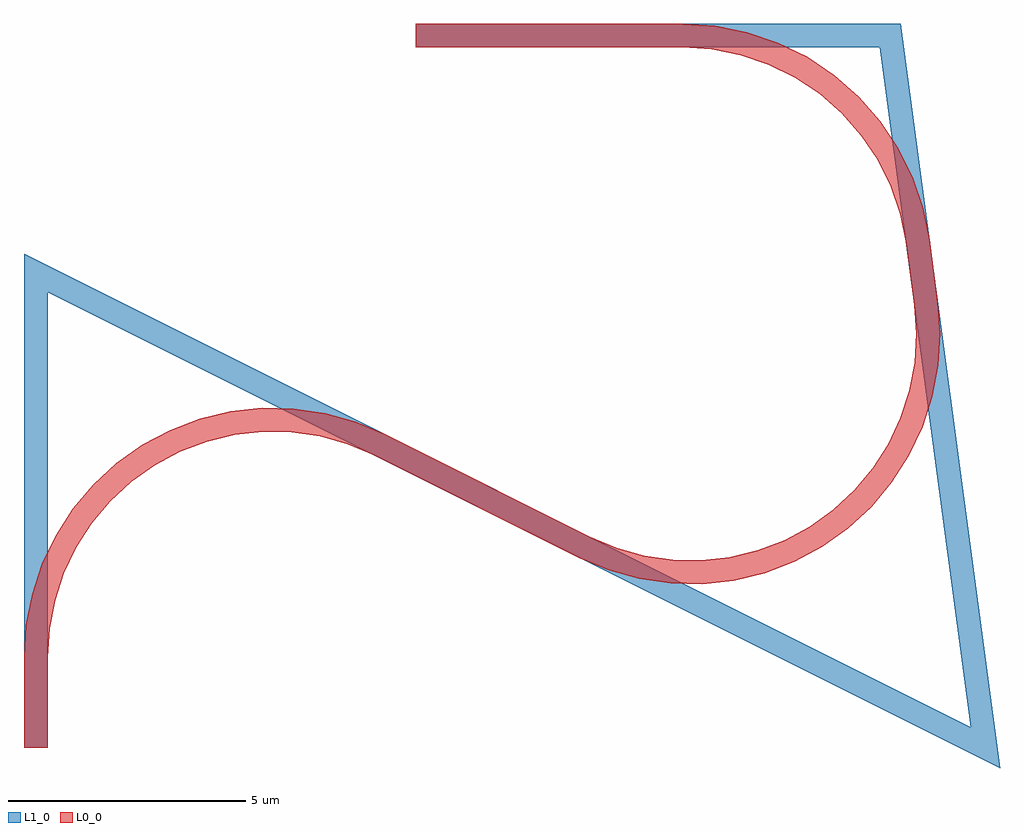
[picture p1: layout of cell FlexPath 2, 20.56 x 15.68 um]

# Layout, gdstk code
import gdstk
lib = gdstk.Library(unit=1e-6, precision=1e-09)
L0_0 = (0, 0)
L1_0 = (1, 0)

flexpath_2 = lib.new_cell('FlexPath 2')
flexpath_2.add(gdstk.FlexPath([(0,0),(0,1.91),(0.04,2.544),(0.161,3.168),(0.359,3.771),(0.633,4.345),(0.977,4.879),(1.386,5.365),(1.853,5.795),(2.371,6.163),(2.932,6.462),(3.526,6.688),(4.144,6.836),(4.775,6.905),(5.41,6.893),(6.039,6.801),(6.651,6.629),(7.236,6.382),(11.561,4.22),(12.147,3.972),(12.761,3.8),(13.391,3.708),(14.028,3.697),(14.661,3.767),(15.28,3.917),(15.875,4.144),(16.436,4.445),(16.955,4.815),(17.422,5.248),(17.83,5.737),(18.173,6.274),(18.445,6.85),(18.642,7.455),(18.759,8.081),(18.797,8.717),(18.753,9.353),(18.579,10.661),(18.45,11.301),(18.239,11.92),(17.95,12.505),(17.586,13.048),(17.155,13.539),(16.663,13.969),(16.12,14.332),(15.534,14.62),(14.915,14.83),(14.274,14.957),(13.622,15),(8,15)], 0.5, ends="flush", simple_path=True, layer=0, datatype=0))  # L0_0
flexpath_2.add(gdstk.FlexPath([(0,0),(0,10),(20,0),(18,15),(8,15)], 0.5, ends="flush", simple_path=True, layer=1, datatype=0))  # L1_0

lib.write_gds('FlexPath_2.gds')
